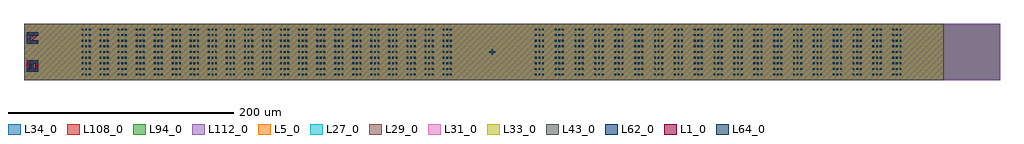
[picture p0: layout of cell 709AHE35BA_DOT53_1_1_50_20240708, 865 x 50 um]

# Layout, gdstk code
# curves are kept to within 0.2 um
from math import pi, radians
import gdstk
lib = gdstk.Library(unit=1e-6, precision=1e-09)
def R(c, l, rs):  # rectangles x0, y0, x1, y1
    for r in rs: c.add(gdstk.rectangle(r[:2], r[2:], *l))
def A(c, l, x, y, w, h, nx, ny, dx, dy):  # array of equal rectangles
    R(c, l, [(x+i*dx, y+j*dy, x+i*dx+w, y+j*dy+h) for i in range(nx) for j in range(ny)])
def P(c, l, *ps):  # polygons
    for p in ps: c.add(gdstk.Polygon(p, *l))
L1_0 = (1, 0)
L5_0 = (5, 0)
L27_0 = (27, 0)
L29_0 = (29, 0)
L31_0 = (31, 0)
L33_0 = (33, 0)
L34_0 = (34, 0)
L43_0 = (43, 0)
L62_0 = (62, 0)
L64_0 = (64, 0)
L94_0 = (94, 0)
L108_0 = (108, 0)
L112_0 = (112, 0)

dot53_800_50_1_6_1_6_t_1 = lib.new_cell('DOT53_800_50_1_6_1_6_T_1_T')
A(dot53_800_50_1_6_1_6_t_1, L1_0, 51, 4.2, 1.6, 1.6, 3, 9, 3.2, 5)
A(dot53_800_50_1_6_1_6_t_1, L1_0, 67, 4.2, 1.6, 1.6, 3, 9, 3.2, 5)
A(dot53_800_50_1_6_1_6_t_1, L1_0, 83, 4.2, 1.6, 1.6, 3, 9, 3.2, 5)
A(dot53_800_50_1_6_1_6_t_1, L1_0, 99, 4.2, 1.6, 1.6, 3, 9, 3.2, 5)
A(dot53_800_50_1_6_1_6_t_1, L1_0, 115, 4.2, 1.6, 1.6, 3, 9, 3.2, 5)
A(dot53_800_50_1_6_1_6_t_1, L1_0, 131, 4.2, 1.6, 1.6, 3, 9, 3.2, 5)
A(dot53_800_50_1_6_1_6_t_1, L1_0, 147, 4.2, 1.6, 1.6, 3, 9, 3.2, 5)
A(dot53_800_50_1_6_1_6_t_1, L1_0, 163, 4.2, 1.6, 1.6, 3, 9, 3.2, 5)
A(dot53_800_50_1_6_1_6_t_1, L1_0, 179, 4.2, 1.6, 1.6, 3, 9, 3.2, 5)
A(dot53_800_50_1_6_1_6_t_1, L1_0, 195, 4.2, 1.6, 1.6, 3, 9, 3.2, 5)
A(dot53_800_50_1_6_1_6_t_1, L1_0, 211, 4.2, 1.6, 1.6, 3, 9, 3.2, 5)
A(dot53_800_50_1_6_1_6_t_1, L1_0, 227, 4.2, 1.6, 1.6, 3, 9, 3.2, 5)
A(dot53_800_50_1_6_1_6_t_1, L1_0, 243, 4.2, 1.6, 1.6, 3, 9, 3.2, 5)
A(dot53_800_50_1_6_1_6_t_1, L1_0, 259, 4.2, 1.6, 1.6, 3, 9, 3.2, 5)
A(dot53_800_50_1_6_1_6_t_1, L1_0, 275, 4.2, 1.6, 1.6, 3, 9, 3.2, 5)
A(dot53_800_50_1_6_1_6_t_1, L1_0, 291, 4.2, 1.6, 1.6, 3, 9, 3.2, 5)
A(dot53_800_50_1_6_1_6_t_1, L1_0, 307, 4.2, 1.6, 1.6, 3, 9, 3.2, 5)
A(dot53_800_50_1_6_1_6_t_1, L1_0, 323, 4.2, 1.6, 1.6, 3, 9, 3.2, 5)
A(dot53_800_50_1_6_1_6_t_1, L1_0, 339, 4.2, 1.6, 1.6, 3, 9, 3.2, 5)
A(dot53_800_50_1_6_1_6_t_1, L1_0, 355, 4.2, 1.6, 1.6, 3, 9, 3.2, 5)
A(dot53_800_50_1_6_1_6_t_1, L1_0, 371, 4.2, 1.6, 1.6, 3, 9, 3.2, 5)
A(dot53_800_50_1_6_1_6_t_1, L1_0, 452.8, 4.2, 1.6, 1.6, 3, 9, 3.2, 5)
A(dot53_800_50_1_6_1_6_t_1, L1_0, 470.4, 4.2, 1.6, 1.6, 3, 9, 3.2, 5)
A(dot53_800_50_1_6_1_6_t_1, L1_0, 488, 4.2, 1.6, 1.6, 3, 9, 3.2, 5)
A(dot53_800_50_1_6_1_6_t_1, L1_0, 505.6, 4.2, 1.6, 1.6, 3, 9, 3.2, 5)
A(dot53_800_50_1_6_1_6_t_1, L1_0, 523.2, 4.2, 1.6, 1.6, 3, 9, 3.2, 5)
A(dot53_800_50_1_6_1_6_t_1, L1_0, 540.8, 4.2, 1.6, 1.6, 3, 9, 3.2, 5)
A(dot53_800_50_1_6_1_6_t_1, L1_0, 558.4, 4.2, 1.6, 1.6, 3, 9, 3.2, 5)
A(dot53_800_50_1_6_1_6_t_1, L1_0, 576, 4.2, 1.6, 1.6, 3, 9, 3.2, 5)
A(dot53_800_50_1_6_1_6_t_1, L1_0, 593.6, 4.2, 1.6, 1.6, 3, 9, 3.2, 5)
A(dot53_800_50_1_6_1_6_t_1, L1_0, 611.2, 4.2, 1.6, 1.6, 3, 9, 3.2, 5)
A(dot53_800_50_1_6_1_6_t_1, L1_0, 628.8, 4.2, 1.6, 1.6, 3, 9, 3.2, 5)
A(dot53_800_50_1_6_1_6_t_1, L1_0, 646.4, 4.2, 1.6, 1.6, 3, 9, 3.2, 5)
A(dot53_800_50_1_6_1_6_t_1, L1_0, 664, 4.2, 1.6, 1.6, 3, 9, 3.2, 5)
A(dot53_800_50_1_6_1_6_t_1, L1_0, 681.6, 4.2, 1.6, 1.6, 3, 9, 3.2, 5)
A(dot53_800_50_1_6_1_6_t_1, L1_0, 699.2, 4.2, 1.6, 1.6, 3, 9, 3.2, 5)
A(dot53_800_50_1_6_1_6_t_1, L1_0, 716.8, 4.2, 1.6, 1.6, 3, 9, 3.2, 5)
A(dot53_800_50_1_6_1_6_t_1, L1_0, 734.4, 4.2, 1.6, 1.6, 3, 9, 3.2, 5)
A(dot53_800_50_1_6_1_6_t_1, L1_0, 752, 4.2, 1.6, 1.6, 3, 9, 3.2, 5)
A(dot53_800_50_1_6_1_6_t_1, L1_0, 769.6, 4.2, 1.6, 1.6, 3, 9, 3.2, 5)
P(dot53_800_50_1_6_1_6_t_1, L1_0, [(415.5,24.5),(417.5,24.5),(417.5,25.5),(415.5,25.5),(415.5,27.5),(414.5,27.5),(414.5,25.5),(412.5,25.5),(412.5,24.5),(414.5,24.5),(414.5,22.5),(415.5,22.5)])
R(dot53_800_50_1_6_1_6_t_1, L5_0, [(15,0,815,50)])
R(dot53_800_50_1_6_1_6_t_1, L27_0, [(15,0,815,50)])
R(dot53_800_50_1_6_1_6_t_1, L29_0, [(15,0,815,50)])
R(dot53_800_50_1_6_1_6_t_1, L31_0, [(15,0,815,50)])
R(dot53_800_50_1_6_1_6_t_1, L33_0, [(15,0,815,50)])
R(dot53_800_50_1_6_1_6_t_1, L34_0, [(15,0,865,50)])
R(dot53_800_50_1_6_1_6_t_1, L43_0, [(15,0,815,50)])
R(dot53_800_50_1_6_1_6_t_1, L94_0, [(15,0,865,50)])
R(dot53_800_50_1_6_1_6_t_1, L108_0, [(15,0,865,50)])
R(dot53_800_50_1_6_1_6_t_1, L112_0, [(15,0,865,50)])

c_dot53_800_50_1_6_1_6_t_1 = lib.new_cell('DOT53_800_50_1_6_1_6_T_1_name')
P(c_dot53_800_50_1_6_1_6_t_1, L1_0, [(10,8.5),(15,2.5),(17.5,2.5),(17.5,12.5),(15,12.5),(15,6.5),(10,12.5),(7.5,12.5),(7.5,2.5),(10,2.5)],
  [(41.5,2.5),(42.5,3.5),(42.5,6.5),(41.5,7.5),(42.5,8.5),(42.5,11.5),(41.5,12.5),(32.5,12.5),(32.5,8.5),(35,8.5),(35,10.5),(40,10.5),(40,8.5),(32.5,8.5),(32.5,4.5),(35,4.5),(35,6.5),(40,6.5),(40,4.5),(32.5,4.5),(32.5,2.5)])
R(c_dot53_800_50_1_6_1_6_t_1, L5_0, [(0,0,50,15)])
R(c_dot53_800_50_1_6_1_6_t_1, L27_0, [(0,0,50,15)])
R(c_dot53_800_50_1_6_1_6_t_1, L29_0, [(0,0,50,15)])
R(c_dot53_800_50_1_6_1_6_t_1, L31_0, [(0,0,50,15)])
R(c_dot53_800_50_1_6_1_6_t_1, L33_0, [(0,0,50,15)])
R(c_dot53_800_50_1_6_1_6_t_1, L34_0, [(0,0,50,15)])
R(c_dot53_800_50_1_6_1_6_t_1, L43_0, [(0,0,50,15)])
R(c_dot53_800_50_1_6_1_6_t_1, L94_0, [(0,0,50,15)])
R(c_dot53_800_50_1_6_1_6_t_1, L108_0, [(0,0,50,15)])
R(c_dot53_800_50_1_6_1_6_t_1, L112_0, [(0,0,50,15)])

dot53_800_50_1_6_1_6_t_6 = lib.new_cell('DOT53_800_50_1_6_1_6_T_62_T')
R(dot53_800_50_1_6_1_6_t_6, L5_0, [(15,0,815,50)])
R(dot53_800_50_1_6_1_6_t_6, L27_0, [(15,0,815,50)])
R(dot53_800_50_1_6_1_6_t_6, L29_0, [(15,0,815,50)])
R(dot53_800_50_1_6_1_6_t_6, L31_0, [(15,0,815,50)])
R(dot53_800_50_1_6_1_6_t_6, L33_0, [(15,0,815,50)])
R(dot53_800_50_1_6_1_6_t_6, L34_0, [(15,0,865,50)])
R(dot53_800_50_1_6_1_6_t_6, L43_0, [(15,0,815,50)])
A(dot53_800_50_1_6_1_6_t_6, L62_0, 51, 4.2, 1.6, 1.6, 3, 9, 3.2, 5)
A(dot53_800_50_1_6_1_6_t_6, L62_0, 67, 4.2, 1.6, 1.6, 3, 9, 3.2, 5)
A(dot53_800_50_1_6_1_6_t_6, L62_0, 83, 4.2, 1.6, 1.6, 3, 9, 3.2, 5)
A(dot53_800_50_1_6_1_6_t_6, L62_0, 99, 4.2, 1.6, 1.6, 3, 9, 3.2, 5)
A(dot53_800_50_1_6_1_6_t_6, L62_0, 115, 4.2, 1.6, 1.6, 3, 9, 3.2, 5)
A(dot53_800_50_1_6_1_6_t_6, L62_0, 131, 4.2, 1.6, 1.6, 3, 9, 3.2, 5)
A(dot53_800_50_1_6_1_6_t_6, L62_0, 147, 4.2, 1.6, 1.6, 3, 9, 3.2, 5)
A(dot53_800_50_1_6_1_6_t_6, L62_0, 163, 4.2, 1.6, 1.6, 3, 9, 3.2, 5)
A(dot53_800_50_1_6_1_6_t_6, L62_0, 179, 4.2, 1.6, 1.6, 3, 9, 3.2, 5)
A(dot53_800_50_1_6_1_6_t_6, L62_0, 195, 4.2, 1.6, 1.6, 3, 9, 3.2, 5)
A(dot53_800_50_1_6_1_6_t_6, L62_0, 211, 4.2, 1.6, 1.6, 3, 9, 3.2, 5)
A(dot53_800_50_1_6_1_6_t_6, L62_0, 227, 4.2, 1.6, 1.6, 3, 9, 3.2, 5)
A(dot53_800_50_1_6_1_6_t_6, L62_0, 243, 4.2, 1.6, 1.6, 3, 9, 3.2, 5)
A(dot53_800_50_1_6_1_6_t_6, L62_0, 259, 4.2, 1.6, 1.6, 3, 9, 3.2, 5)
A(dot53_800_50_1_6_1_6_t_6, L62_0, 275, 4.2, 1.6, 1.6, 3, 9, 3.2, 5)
A(dot53_800_50_1_6_1_6_t_6, L62_0, 291, 4.2, 1.6, 1.6, 3, 9, 3.2, 5)
A(dot53_800_50_1_6_1_6_t_6, L62_0, 307, 4.2, 1.6, 1.6, 3, 9, 3.2, 5)
A(dot53_800_50_1_6_1_6_t_6, L62_0, 323, 4.2, 1.6, 1.6, 3, 9, 3.2, 5)
A(dot53_800_50_1_6_1_6_t_6, L62_0, 339, 4.2, 1.6, 1.6, 3, 9, 3.2, 5)
A(dot53_800_50_1_6_1_6_t_6, L62_0, 355, 4.2, 1.6, 1.6, 3, 9, 3.2, 5)
A(dot53_800_50_1_6_1_6_t_6, L62_0, 371, 4.2, 1.6, 1.6, 3, 9, 3.2, 5)
A(dot53_800_50_1_6_1_6_t_6, L62_0, 452.8, 4.2, 1.6, 1.6, 3, 9, 3.2, 5)
A(dot53_800_50_1_6_1_6_t_6, L62_0, 470.4, 4.2, 1.6, 1.6, 3, 9, 3.2, 5)
A(dot53_800_50_1_6_1_6_t_6, L62_0, 488, 4.2, 1.6, 1.6, 3, 9, 3.2, 5)
A(dot53_800_50_1_6_1_6_t_6, L62_0, 505.6, 4.2, 1.6, 1.6, 3, 9, 3.2, 5)
A(dot53_800_50_1_6_1_6_t_6, L62_0, 523.2, 4.2, 1.6, 1.6, 3, 9, 3.2, 5)
A(dot53_800_50_1_6_1_6_t_6, L62_0, 540.8, 4.2, 1.6, 1.6, 3, 9, 3.2, 5)
A(dot53_800_50_1_6_1_6_t_6, L62_0, 558.4, 4.2, 1.6, 1.6, 3, 9, 3.2, 5)
A(dot53_800_50_1_6_1_6_t_6, L62_0, 576, 4.2, 1.6, 1.6, 3, 9, 3.2, 5)
A(dot53_800_50_1_6_1_6_t_6, L62_0, 593.6, 4.2, 1.6, 1.6, 3, 9, 3.2, 5)
A(dot53_800_50_1_6_1_6_t_6, L62_0, 611.2, 4.2, 1.6, 1.6, 3, 9, 3.2, 5)
A(dot53_800_50_1_6_1_6_t_6, L62_0, 628.8, 4.2, 1.6, 1.6, 3, 9, 3.2, 5)
A(dot53_800_50_1_6_1_6_t_6, L62_0, 646.4, 4.2, 1.6, 1.6, 3, 9, 3.2, 5)
A(dot53_800_50_1_6_1_6_t_6, L62_0, 664, 4.2, 1.6, 1.6, 3, 9, 3.2, 5)
A(dot53_800_50_1_6_1_6_t_6, L62_0, 681.6, 4.2, 1.6, 1.6, 3, 9, 3.2, 5)
A(dot53_800_50_1_6_1_6_t_6, L62_0, 699.2, 4.2, 1.6, 1.6, 3, 9, 3.2, 5)
A(dot53_800_50_1_6_1_6_t_6, L62_0, 716.8, 4.2, 1.6, 1.6, 3, 9, 3.2, 5)
A(dot53_800_50_1_6_1_6_t_6, L62_0, 734.4, 4.2, 1.6, 1.6, 3, 9, 3.2, 5)
A(dot53_800_50_1_6_1_6_t_6, L62_0, 752, 4.2, 1.6, 1.6, 3, 9, 3.2, 5)
A(dot53_800_50_1_6_1_6_t_6, L62_0, 769.6, 4.2, 1.6, 1.6, 3, 9, 3.2, 5)
P(dot53_800_50_1_6_1_6_t_6, L62_0, [(415.5,24.5),(417.5,24.5),(417.5,25.5),(415.5,25.5),(415.5,27.5),(414.5,27.5),(414.5,25.5),(412.5,25.5),(412.5,24.5),(414.5,24.5),(414.5,22.5),(415.5,22.5)])
R(dot53_800_50_1_6_1_6_t_6, L94_0, [(15,0,865,50)])
R(dot53_800_50_1_6_1_6_t_6, L108_0, [(15,0,865,50)])
R(dot53_800_50_1_6_1_6_t_6, L112_0, [(15,0,865,50)])

c_dot53_800_50_1_6_1_6_t_6 = lib.new_cell('DOT53_800_50_1_6_1_6_T_62_name')
R(c_dot53_800_50_1_6_1_6_t_6, L5_0, [(0,0,50,15)])
R(c_dot53_800_50_1_6_1_6_t_6, L27_0, [(0,0,50,15)])
R(c_dot53_800_50_1_6_1_6_t_6, L29_0, [(0,0,50,15)])
R(c_dot53_800_50_1_6_1_6_t_6, L31_0, [(0,0,50,15)])
R(c_dot53_800_50_1_6_1_6_t_6, L33_0, [(0,0,50,15)])
R(c_dot53_800_50_1_6_1_6_t_6, L34_0, [(0,0,50,15)])
R(c_dot53_800_50_1_6_1_6_t_6, L43_0, [(0,0,50,15)])
P(c_dot53_800_50_1_6_1_6_t_6, L62_0, [(17.5,12.5),(14.5,12.5),(14.5,5.5),(10.5,5.5),(10.5,12.5),(7.5,12.5),(7.5,2.5),(17.5,2.5)],
  [(42.5,5),(35.5,5),(35.5,6.3),(42.5,6.3),(42.5,12.5),(32.5,12.5),(32.5,10),(39.5,10),(39.5,8.8),(32.5,8.8),(32.5,2.5),(42.5,2.5)])
R(c_dot53_800_50_1_6_1_6_t_6, L94_0, [(0,0,50,15)])
R(c_dot53_800_50_1_6_1_6_t_6, L108_0, [(0,0,50,15)])
R(c_dot53_800_50_1_6_1_6_t_6, L112_0, [(0,0,50,15)])

c_dot53_800_50_1_6_1_6_t_6_ = lib.new_cell('DOT53_800_50_1_6_1_6_T_64_T')
R(c_dot53_800_50_1_6_1_6_t_6_, L5_0, [(15,0,815,50)])
R(c_dot53_800_50_1_6_1_6_t_6_, L27_0, [(15,0,815,50)])
R(c_dot53_800_50_1_6_1_6_t_6_, L29_0, [(15,0,815,50)])
R(c_dot53_800_50_1_6_1_6_t_6_, L31_0, [(15,0,815,50)])
R(c_dot53_800_50_1_6_1_6_t_6_, L33_0, [(15,0,815,50)])
R(c_dot53_800_50_1_6_1_6_t_6_, L34_0, [(15,0,865,50)])
R(c_dot53_800_50_1_6_1_6_t_6_, L43_0, [(15,0,815,50)])
A(c_dot53_800_50_1_6_1_6_t_6_, L64_0, 51, 4.2, 1.6, 1.6, 3, 9, 3.2, 5)
A(c_dot53_800_50_1_6_1_6_t_6_, L64_0, 67, 4.2, 1.6, 1.6, 3, 9, 3.2, 5)
A(c_dot53_800_50_1_6_1_6_t_6_, L64_0, 83, 4.2, 1.6, 1.6, 3, 9, 3.2, 5)
A(c_dot53_800_50_1_6_1_6_t_6_, L64_0, 99, 4.2, 1.6, 1.6, 3, 9, 3.2, 5)
A(c_dot53_800_50_1_6_1_6_t_6_, L64_0, 115, 4.2, 1.6, 1.6, 3, 9, 3.2, 5)
A(c_dot53_800_50_1_6_1_6_t_6_, L64_0, 131, 4.2, 1.6, 1.6, 3, 9, 3.2, 5)
A(c_dot53_800_50_1_6_1_6_t_6_, L64_0, 147, 4.2, 1.6, 1.6, 3, 9, 3.2, 5)
A(c_dot53_800_50_1_6_1_6_t_6_, L64_0, 163, 4.2, 1.6, 1.6, 3, 9, 3.2, 5)
A(c_dot53_800_50_1_6_1_6_t_6_, L64_0, 179, 4.2, 1.6, 1.6, 3, 9, 3.2, 5)
A(c_dot53_800_50_1_6_1_6_t_6_, L64_0, 195, 4.2, 1.6, 1.6, 3, 9, 3.2, 5)
A(c_dot53_800_50_1_6_1_6_t_6_, L64_0, 211, 4.2, 1.6, 1.6, 3, 9, 3.2, 5)
A(c_dot53_800_50_1_6_1_6_t_6_, L64_0, 227, 4.2, 1.6, 1.6, 3, 9, 3.2, 5)
A(c_dot53_800_50_1_6_1_6_t_6_, L64_0, 243, 4.2, 1.6, 1.6, 3, 9, 3.2, 5)
A(c_dot53_800_50_1_6_1_6_t_6_, L64_0, 259, 4.2, 1.6, 1.6, 3, 9, 3.2, 5)
A(c_dot53_800_50_1_6_1_6_t_6_, L64_0, 275, 4.2, 1.6, 1.6, 3, 9, 3.2, 5)
A(c_dot53_800_50_1_6_1_6_t_6_, L64_0, 291, 4.2, 1.6, 1.6, 3, 9, 3.2, 5)
A(c_dot53_800_50_1_6_1_6_t_6_, L64_0, 307, 4.2, 1.6, 1.6, 3, 9, 3.2, 5)
A(c_dot53_800_50_1_6_1_6_t_6_, L64_0, 323, 4.2, 1.6, 1.6, 3, 9, 3.2, 5)
A(c_dot53_800_50_1_6_1_6_t_6_, L64_0, 339, 4.2, 1.6, 1.6, 3, 9, 3.2, 5)
A(c_dot53_800_50_1_6_1_6_t_6_, L64_0, 355, 4.2, 1.6, 1.6, 3, 9, 3.2, 5)
A(c_dot53_800_50_1_6_1_6_t_6_, L64_0, 371, 4.2, 1.6, 1.6, 3, 9, 3.2, 5)
A(c_dot53_800_50_1_6_1_6_t_6_, L64_0, 452.8, 4.2, 1.6, 1.6, 3, 9, 3.2, 5)
A(c_dot53_800_50_1_6_1_6_t_6_, L64_0, 470.4, 4.2, 1.6, 1.6, 3, 9, 3.2, 5)
A(c_dot53_800_50_1_6_1_6_t_6_, L64_0, 488, 4.2, 1.6, 1.6, 3, 9, 3.2, 5)
A(c_dot53_800_50_1_6_1_6_t_6_, L64_0, 505.6, 4.2, 1.6, 1.6, 3, 9, 3.2, 5)
A(c_dot53_800_50_1_6_1_6_t_6_, L64_0, 523.2, 4.2, 1.6, 1.6, 3, 9, 3.2, 5)
A(c_dot53_800_50_1_6_1_6_t_6_, L64_0, 540.8, 4.2, 1.6, 1.6, 3, 9, 3.2, 5)
A(c_dot53_800_50_1_6_1_6_t_6_, L64_0, 558.4, 4.2, 1.6, 1.6, 3, 9, 3.2, 5)
A(c_dot53_800_50_1_6_1_6_t_6_, L64_0, 576, 4.2, 1.6, 1.6, 3, 9, 3.2, 5)
A(c_dot53_800_50_1_6_1_6_t_6_, L64_0, 593.6, 4.2, 1.6, 1.6, 3, 9, 3.2, 5)
A(c_dot53_800_50_1_6_1_6_t_6_, L64_0, 611.2, 4.2, 1.6, 1.6, 3, 9, 3.2, 5)
A(c_dot53_800_50_1_6_1_6_t_6_, L64_0, 628.8, 4.2, 1.6, 1.6, 3, 9, 3.2, 5)
A(c_dot53_800_50_1_6_1_6_t_6_, L64_0, 646.4, 4.2, 1.6, 1.6, 3, 9, 3.2, 5)
A(c_dot53_800_50_1_6_1_6_t_6_, L64_0, 664, 4.2, 1.6, 1.6, 3, 9, 3.2, 5)
A(c_dot53_800_50_1_6_1_6_t_6_, L64_0, 681.6, 4.2, 1.6, 1.6, 3, 9, 3.2, 5)
A(c_dot53_800_50_1_6_1_6_t_6_, L64_0, 699.2, 4.2, 1.6, 1.6, 3, 9, 3.2, 5)
A(c_dot53_800_50_1_6_1_6_t_6_, L64_0, 716.8, 4.2, 1.6, 1.6, 3, 9, 3.2, 5)
A(c_dot53_800_50_1_6_1_6_t_6_, L64_0, 734.4, 4.2, 1.6, 1.6, 3, 9, 3.2, 5)
A(c_dot53_800_50_1_6_1_6_t_6_, L64_0, 752, 4.2, 1.6, 1.6, 3, 9, 3.2, 5)
A(c_dot53_800_50_1_6_1_6_t_6_, L64_0, 769.6, 4.2, 1.6, 1.6, 3, 9, 3.2, 5)
P(c_dot53_800_50_1_6_1_6_t_6_, L64_0, [(415.5,24.5),(417.5,24.5),(417.5,25.5),(415.5,25.5),(415.5,27.5),(414.5,27.5),(414.5,25.5),(412.5,25.5),(412.5,24.5),(414.5,24.5),(414.5,22.5),(415.5,22.5)])
R(c_dot53_800_50_1_6_1_6_t_6_, L94_0, [(15,0,865,50)])
R(c_dot53_800_50_1_6_1_6_t_6_, L108_0, [(15,0,865,50)])
R(c_dot53_800_50_1_6_1_6_t_6_, L112_0, [(15,0,865,50)])

c_dot53_800_50_1_6_1_6_t_6__ = lib.new_cell('DOT53_800_50_1_6_1_6_T_64_name')
R(c_dot53_800_50_1_6_1_6_t_6__, L5_0, [(0,0,50,15)])
R(c_dot53_800_50_1_6_1_6_t_6__, L27_0, [(0,0,50,15)])
R(c_dot53_800_50_1_6_1_6_t_6__, L29_0, [(0,0,50,15)])
R(c_dot53_800_50_1_6_1_6_t_6__, L31_0, [(0,0,50,15)])
R(c_dot53_800_50_1_6_1_6_t_6__, L33_0, [(0,0,50,15)])
R(c_dot53_800_50_1_6_1_6_t_6__, L34_0, [(0,0,50,15)])
R(c_dot53_800_50_1_6_1_6_t_6__, L43_0, [(0,0,50,15)])
P(c_dot53_800_50_1_6_1_6_t_6__, L64_0, [(17.5,12.5),(14.5,12.5),(14.5,5.5),(10.5,5.5),(10.5,12.5),(7.5,12.5),(7.5,2.5),(17.5,2.5)],
  [(42.5,12.5),(39.5,12.5),(39.5,8.5),(35.5,8.5),(35.5,12.5),(32.5,12.5),(32.5,5.5),(39.5,5.5),(39.5,2.5),(42.5,2.5)])
R(c_dot53_800_50_1_6_1_6_t_6__, L94_0, [(0,0,50,15)])
R(c_dot53_800_50_1_6_1_6_t_6__, L108_0, [(0,0,50,15)])
R(c_dot53_800_50_1_6_1_6_t_6__, L112_0, [(0,0,50,15)])

c_709ahe35ba_dot53_1_1_50_ = lib.new_cell('709AHE35BA_DOT53_1_1_50_20240708')
c_709ahe35ba_dot53_1_1_50_.add(gdstk.Reference(dot53_800_50_1_6_1_6_t_1, (0,0)))
c_709ahe35ba_dot53_1_1_50_.add(gdstk.Reference(c_dot53_800_50_1_6_1_6_t_1, (0,50), rotation=3*pi/2))
c_709ahe35ba_dot53_1_1_50_.add(gdstk.Reference(dot53_800_50_1_6_1_6_t_6, (0,0)))
c_709ahe35ba_dot53_1_1_50_.add(gdstk.Reference(c_dot53_800_50_1_6_1_6_t_6, (0,50), rotation=3*pi/2))
c_709ahe35ba_dot53_1_1_50_.add(gdstk.Reference(c_dot53_800_50_1_6_1_6_t_6_, (0,0)))
c_709ahe35ba_dot53_1_1_50_.add(gdstk.Reference(c_dot53_800_50_1_6_1_6_t_6__, (0,50), rotation=3*pi/2))

lib.write_gds('709AHE35BA_DOT53_1_1_50_20240708.gds')
